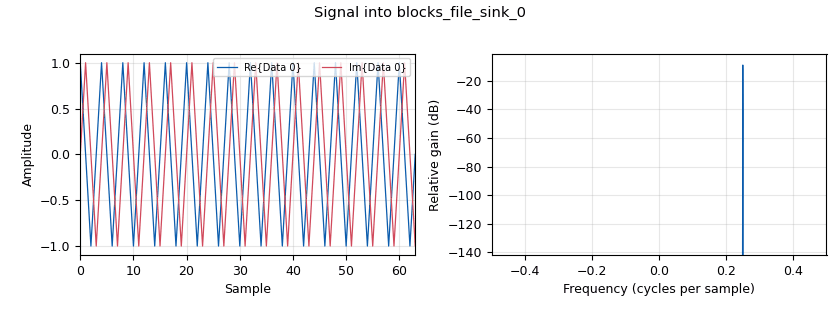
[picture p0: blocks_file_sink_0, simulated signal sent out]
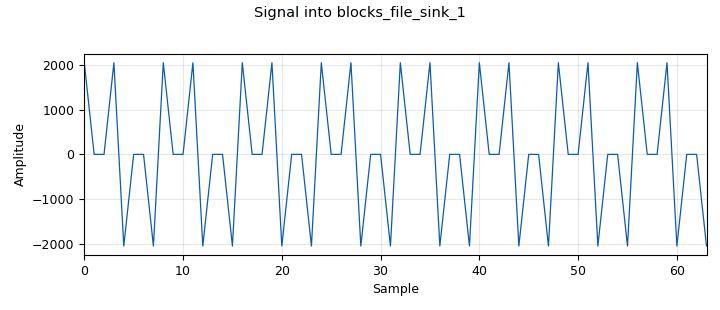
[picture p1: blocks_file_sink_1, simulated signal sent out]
options:
  parameters:
    generate_options: qt_gui
    id: top_block
    output_language: python
  states: {}

blocks:
- name: atten_quart_db
  id: variable_qtgui_range
  parameters:
    gui_hint: 0,1,1,1
    label: 'Attenuation '
    start: '0'
    step: '1'
    stop: max_attenuation
    value: '50'
  states: {}
- name: bandwidth
  id: variable_qtgui_range
  parameters:
    gui_hint: 1,1,1,1
    label: Bandwidth
    start: 0.1e6
    step: 0.1e6
    stop: max_sample_rate
    value: sample_rate * .8
  states: {}
- name: center_freq
  id: variable_qtgui_range
  parameters:
    gui_hint: 0,0,1,1
    label: Frequency
    start: 100e6
    step: 1e6
    stop: 6000e6
    value: 1000e6
  states: {}
- name: max_attenuation
  id: variable
  parameters:
    value: '359'
  states: {}
- name: max_sample_rate
  id: variable
  parameters:
    value: 122.88e6
  states: {}
- name: sample_rate
  id: variable_qtgui_range
  parameters:
    gui_hint: 1,0,1,1
    label: Sample Rate
    start: 0.1e6
    step: 0.1e6
    stop: max_sample_rate
    value: 8e6
  states: {}
- name: source_min_output_buffer
  id: variable
  parameters:
    value: 2**14*4
  states: {}
- name: suppress_tune_transients_chooser
  id: variable_qtgui_chooser
  parameters:
    label: Suppress Tune Transients
    label0: 'False'
    label1: 'True'
    num_opts: '2'
    option0: '0'
    option1: '1'
    type: int
    value: '0'
  states: {}
- name: tone_freq
  id: variable_qtgui_range
  parameters:
    start: '1000000'
    step: '1000000'
    stop: '20000000'
    value: '2000000'
  states: {}
- name: analog_sig_source_x_0
  id: analog_sig_source_x
  parameters:
    amp: '1'
    freq: tone_freq
    minoutbuf: source_min_output_buffer
    offset: '0'
    phase: '0'
    samp_rate: sample_rate
    type: complex
    waveform: analog.GR_COS_WAVE
  states: {}
- name: blocks_complex_to_interleaved_short_0
  id: blocks_complex_to_interleaved_short
  parameters:
    scale_factor: '2047'
    vector_output: 'False'
  states: {}
- name: blocks_file_sink_0
  id: blocks_file_sink
  parameters:
    file: samples.complex
    type: complex
  states: {}
- name: blocks_file_sink_1
  id: blocks_file_sink
  parameters:
    file: samples.short
    type: short
  states: {}
- name: blocks_stream_to_vector_0
  id: blocks_stream_to_vector
  parameters:
    type: short
  states: {}
- name: blocks_throttle_0
  id: blocks_throttle
  parameters:
    samples_per_second: sample_rate
    type: short
  states: {}
- name: soapy_custom_sink_0
  id: soapy_custom_sink
  parameters:
    antenna0: ''
    center_freq0: '1000000000'
    dev_args: '"log = trace"'
    driver: sidekiq
    gain0: '0'
    samp_rate: sample_rate
    type: sc16
  states: {}

connections:
- [analog_sig_source_x_0, '0', blocks_complex_to_interleaved_short_0, '0']
- [analog_sig_source_x_0, '0', blocks_file_sink_0, '0']
- [blocks_complex_to_interleaved_short_0, '0', blocks_file_sink_1, '0']
- [blocks_complex_to_interleaved_short_0, '0', blocks_throttle_0, '0']
- [blocks_stream_to_vector_0, '0', soapy_custom_sink_0, '0']
- [blocks_throttle_0, '0', blocks_stream_to_vector_0, '0']

metadata:
  file_format: 1
  grc_version: 3.10.3.0
